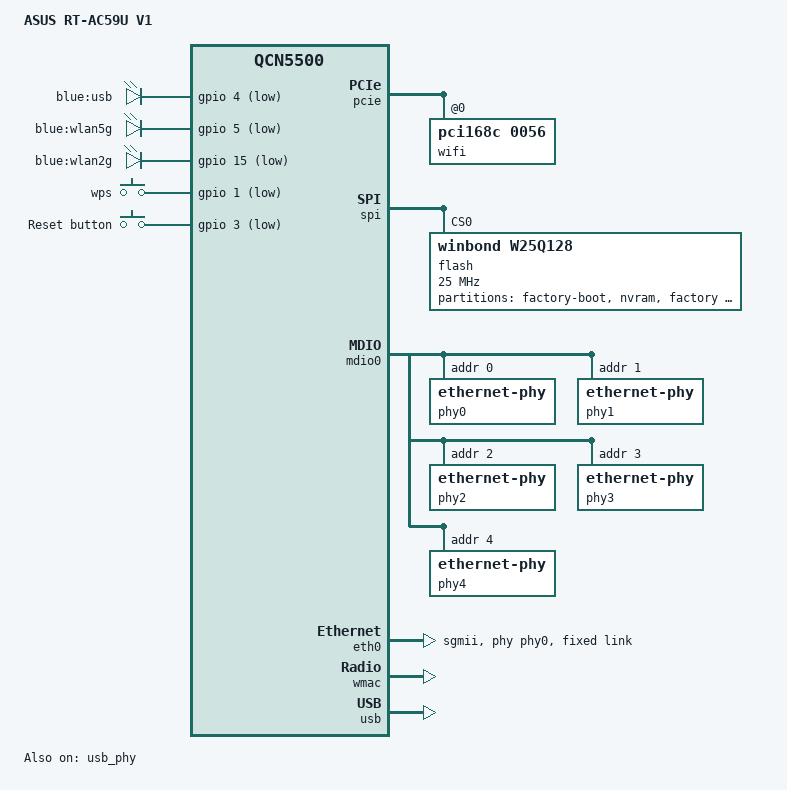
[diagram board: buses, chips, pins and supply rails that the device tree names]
// SPDX-License-Identifier: GPL-2.0-or-later OR MIT

#include "qcn550x.dtsi"

#include <dt-bindings/gpio/gpio.h>
#include <dt-bindings/input/input.h>

/ {
	compatible = "asus,rt-ac59u-v1", "qca,qcn5500";
	model = "ASUS RT-AC59U V1";

	leds {
		compatible = "gpio-leds";

		usb {
			label = "blue:usb";
			gpios = <&gpio 4 GPIO_ACTIVE_LOW>;
			trigger-sources = <&hub_port>;
			linux,default-trigger = "usbport";
		};

		wlan5g {
			label = "blue:wlan5g";
			gpios = <&gpio 5 GPIO_ACTIVE_LOW>;
			linux,default-trigger = "phy0tpt";
		};

		wlan2g {
			label = "blue:wlan2g";
			gpios = <&gpio 15 GPIO_ACTIVE_LOW>;
			linux,default-trigger = "phy1tpt";
		};
	};

	keys {
		compatible = "gpio-keys";

		wps {
			label = "wps";
			gpios = <&gpio 1 GPIO_ACTIVE_LOW>;
			linux,code = <KEY_WPS_BUTTON>;
			debounce-interval = <60>;
		};

		reset {
			label = "Reset button";
			linux,code = <KEY_RESTART>;
			gpios = <&gpio 3 GPIO_ACTIVE_LOW>;
			debounce-interval = <60>;
		};
	};
};

&pcie {
	status = "okay";

	wifi@0,0 {
		compatible = "pci168c,0056";
		reg = <0x0000 0 0 0 0>;
	};
};

&spi {
	status = "okay";

	flash@0 {
		compatible = "winbond,w25q128", "jedec,spi-nor";
		reg = <0>;
		spi-max-frequency = <25000000>;

		partitions {
			compatible = "fixed-partitions";
			#address-cells = <1>;
			#size-cells = <1>;

			partition@0 {
				label = "factory-boot";
				reg = <0x0 0x40000>;
				read-only;
			};

			partition@40000 {
				label = "nvram";
				reg = <0x40000 0x10000>;
				read-only;
			};

			factory: partition@50000 {
				label = "factory";
				reg = <0x50000 0x10000>;
				read-only;
			};

			partition@60000 {
				compatible = "denx,uimage";

				label = "firmware";
				reg = <0x60000 0xFA0000>;
			};
		};
	};
};

&mdio0 {
	status = "okay";

	phy-mask = <0>;

	phy0: ethernet-phy@0 {
		reg = <0>;
		phy-mode = "sgmii";
		qca,ar8327-initvals = <
		 	0x04 0x00080080 /* PAD0 */
		 	0x7c 0x0000007e /* PORT0_STATUS */
		>;
	};

	phy1: ethernet-phy@1 {
		reg = <1>;
	};

	phy2: ethernet-phy@2 {
		reg = <2>;
	};

	phy3: ethernet-phy@3 {
		reg = <3>;
	};

	phy4: ethernet-phy@4 {
		reg = <4>;
	};
};

&eth0 {
	status = "okay";

	phy-handle = <&phy0>;
	phy-mode = "sgmii";

	mtd-mac-address = <&factory 0x1002>;

	fixed-link {
		speed = <1000>;
		full-duplex;
	};
};

&wmac {
	// not working...
	// status = "okay";

	mtd-cal-data = <&factory 0x1000>;
};

&usb {
	status = "okay";

	hub_port: port@1 {
		reg = <1>;
		#trigger-source-cells = <0>;
	};
};

&usb_phy {
	status = "okay";
};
